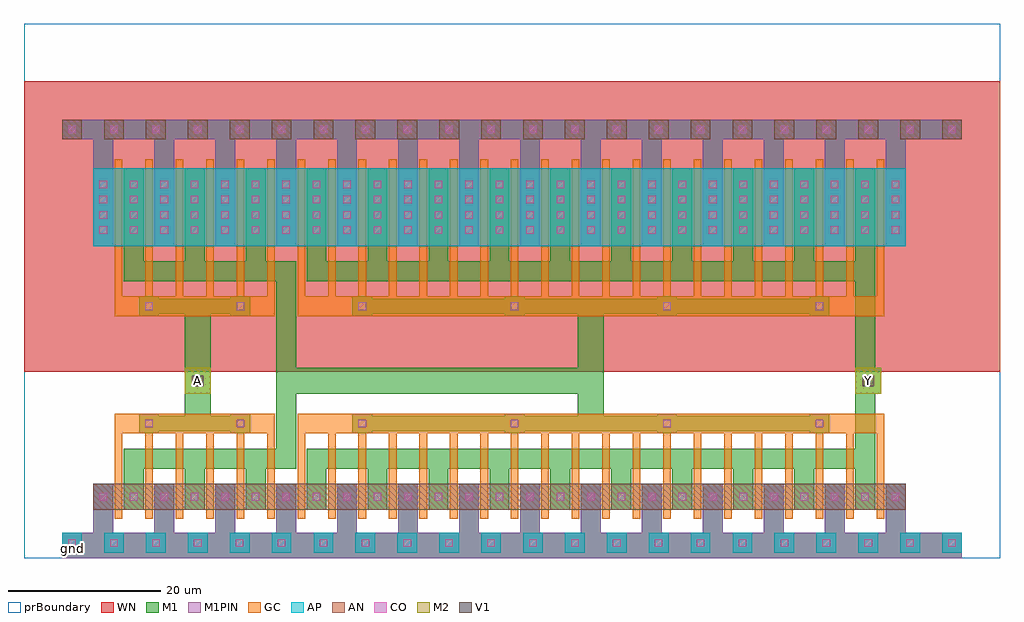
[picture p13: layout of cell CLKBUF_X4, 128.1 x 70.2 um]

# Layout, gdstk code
import gdstk
lib = gdstk.Library(unit=1e-6, precision=1e-09)
def R(c, l, rs):  # rectangles x0, y0, x1, y1
    for r in rs: c.add(gdstk.rectangle(r[:2], r[2:], *l))
def A(c, l, x, y, w, h, nx, ny, dx, dy):  # array of equal rectangles
    R(c, l, [(x+i*dx, y+j*dy, x+i*dx+w, y+j*dy+h) for i in range(nx) for j in range(ny)])
def P(c, l, *ps):  # polygons
    for p in ps: c.add(gdstk.Polygon(p, *l))
AP = (3, 1)
AN = (3, 2)
GC = (8, 1)
CO = (11, 0)
M1 = (13, 0)
V1 = (19, 0)
M2 = (20, 0)
M1PIN = (48, 1)
WN = (140, 0)
prBoundary = (235, 4)

clkbuf_x4 = lib.new_cell('CLKBUF_X4')
A(clkbuf_x4, AP, 5, 0.75, 2.6, 2.6, 22, 1, 5.5, 0)
R(clkbuf_x4, AP, [(9.1,41,115.7,51.2)])
A(clkbuf_x4, AN, 5, 55, 2.6, 2.6, 22, 1, 5.5, 0)
R(clkbuf_x4, AN, [(9.1,6.4,115.7,9.8)])
P(clkbuf_x4, GC, [(11.9,5.2),(11.9,19),(32.9,19),(32.9,5.2),(31.9,5.2),(31.9,16.4),(28.9,16.4),(28.9,5.2),(27.9,5.2),(27.9,16.4),(24.9,16.4),(24.9,5.2),(23.9,5.2),(23.9,16.4),(20.9,16.4),(20.9,5.2),(19.9,5.2),(19.9,16.4),(16.9,16.4),(16.9,5.2),(15.9,5.2),(15.9,16.4),(12.9,16.4),(12.9,5.2)],
  [(35.9,5.2),(35.9,19),(112.9,19),(112.9,5.2),(111.9,5.2),(111.9,16.4),(108.9,16.4),(108.9,5.2),(107.9,5.2),(107.9,16.4),(104.9,16.4),(104.9,5.2),(103.9,5.2),(103.9,16.4),(100.9,16.4),(100.9,5.2),(99.9,5.2),(99.9,16.4),(96.9,16.4),(96.9,5.2),(95.9,5.2),(95.9,16.4),(92.9,16.4),(92.9,5.2),(91.9,5.2),(91.9,16.4),(88.9,16.4),(88.9,5.2),(87.9,5.2),(87.9,16.4),(84.9,16.4),(84.9,5.2),(83.9,5.2),(83.9,16.4),(80.9,16.4),(80.9,5.2),(79.9,5.2),(79.9,16.4),(76.9,16.4),(76.9,5.2),(75.9,5.2),(75.9,16.4),(72.9,16.4),(72.9,5.2),(71.9,5.2),(71.9,16.4),(68.9,16.4),(68.9,5.2),(67.9,5.2),(67.9,16.4),(64.9,16.4),(64.9,5.2),(63.9,5.2),(63.9,16.4),(60.9,16.4),(60.9,5.2),(59.9,5.2),(59.9,16.4),(56.9,16.4),(56.9,5.2),(55.9,5.2),(55.9,16.4),(52.9,16.4),(52.9,5.2),(51.9,5.2),(51.9,16.4),(48.9,16.4),(48.9,5.2),(47.9,5.2),(47.9,16.4),(44.9,16.4),(44.9,5.2),(43.9,5.2),(43.9,16.4),(40.9,16.4),(40.9,5.2),(39.9,5.2),(39.9,16.4),(36.9,16.4),(36.9,5.2)],
  [(11.9,31.8),(11.9,52.4),(12.9,52.4),(12.9,34.4),(15.9,34.4),(15.9,52.4),(16.9,52.4),(16.9,34.4),(19.9,34.4),(19.9,52.4),(20.9,52.4),(20.9,34.4),(23.9,34.4),(23.9,52.4),(24.9,52.4),(24.9,34.4),(27.9,34.4),(27.9,52.4),(28.9,52.4),(28.9,34.4),(31.9,34.4),(31.9,52.4),(32.9,52.4),(32.9,31.8)],
  [(35.9,31.8),(35.9,52.4),(36.9,52.4),(36.9,34.4),(39.9,34.4),(39.9,52.4),(40.9,52.4),(40.9,34.4),(43.9,34.4),(43.9,52.4),(44.9,52.4),(44.9,34.4),(47.9,34.4),(47.9,52.4),(48.9,52.4),(48.9,34.4),(51.9,34.4),(51.9,52.4),(52.9,52.4),(52.9,34.4),(55.9,34.4),(55.9,52.4),(56.9,52.4),(56.9,34.4),(59.9,34.4),(59.9,52.4),(60.9,52.4),(60.9,34.4),(63.9,34.4),(63.9,52.4),(64.9,52.4),(64.9,34.4),(67.9,34.4),(67.9,52.4),(68.9,52.4),(68.9,34.4),(71.9,34.4),(71.9,52.4),(72.9,52.4),(72.9,34.4),(75.9,34.4),(75.9,52.4),(76.9,52.4),(76.9,34.4),(79.9,34.4),(79.9,52.4),(80.9,52.4),(80.9,34.4),(83.9,34.4),(83.9,52.4),(84.9,52.4),(84.9,34.4),(87.9,34.4),(87.9,52.4),(88.9,52.4),(88.9,34.4),(91.9,34.4),(91.9,52.4),(92.9,52.4),(92.9,34.4),(95.9,34.4),(95.9,52.4),(96.9,52.4),(96.9,34.4),(99.9,34.4),(99.9,52.4),(100.9,52.4),(100.9,34.4),(103.9,34.4),(103.9,52.4),(104.9,52.4),(104.9,34.4),(107.9,34.4),(107.9,52.4),(108.9,52.4),(108.9,34.4),(111.9,34.4),(111.9,52.4),(112.9,52.4),(112.9,31.8)])
A(clkbuf_x4, CO, 5.8, 1.55, 1, 1, 22, 2, 5.5, 54.25)
A(clkbuf_x4, CO, 9.9, 7.6, 1, 1, 7, 2, 4, 35)
A(clkbuf_x4, CO, 33.9, 7.6, 1, 1, 21, 2, 4, 35)
A(clkbuf_x4, CO, 43.9, 17.2, 1, 1, 4, 2, 20, 15.4)
A(clkbuf_x4, CO, 9.9, 44.6, 1, 1, 7, 3, 4, 2)
A(clkbuf_x4, CO, 33.9, 44.6, 1, 1, 21, 3, 4, 2)
R(clkbuf_x4, CO, [(15.9,17.2,16.9,18.2), (27.9,17.2,28.9,18.2), (15.9,32.6,16.9,33.6), (27.9,32.6,28.9,33.6)])
A(clkbuf_x4, M1, 11.7, 2.6, 5.4, 0.8, 13, 1, 8, 0)
R(clkbuf_x4, M1, [(5,2.6,9.1,3.4), (115.7,2.6,123.1,3.4)])
P(clkbuf_x4, M1, [(5,0),(5,2.6),(9.1,2.6),(9.1,9.8),(11.7,9.8),(11.7,2.6),(17.1,2.6),(17.1,9.8),(19.7,9.8),(19.7,2.6),(25.1,2.6),(25.1,9.8),(27.7,9.8),(27.7,2.6),(33.1,2.6),(33.1,9.8),(35.7,9.8),(35.7,2.6),(41.1,2.6),(41.1,9.8),(43.7,9.8),(43.7,2.6),(49.1,2.6),(49.1,9.8),(51.7,9.8),(51.7,2.6),(57.1,2.6),(57.1,9.8),(59.7,9.8),(59.7,2.6),(65.1,2.6),(65.1,9.8),(67.7,9.8),(67.7,2.6),(73.1,2.6),(73.1,9.8),(75.7,9.8),(75.7,2.6),(81.1,2.6),(81.1,9.8),(83.7,9.8),(83.7,2.6),(89.1,2.6),(89.1,9.8),(91.7,9.8),(91.7,2.6),(97.1,2.6),(97.1,9.8),(99.7,9.8),(99.7,2.6),(105.1,2.6),(105.1,9.8),(107.7,9.8),(107.7,2.6),(113.1,2.6),(113.1,9.8),(115.7,9.8),(115.7,2.6),(123.1,2.6),(123.1,0)],
  [(15.1,16.4),(15.1,19),(17.7,19),(17.7,18.7),(21.1,18.7),(21.1,32.1),(17.7,32.1),(17.7,31.8),(15.1,31.8),(15.1,34.4),(17.7,34.4),(17.7,34.1),(27.1,34.1),(27.1,34.4),(29.7,34.4),(29.7,31.8),(27.1,31.8),(27.1,32.1),(24.5,32.1),(24.5,18.7),(27.1,18.7),(27.1,19),(29.7,19),(29.7,16.4),(27.1,16.4),(27.1,16.7),(17.7,16.7),(17.7,16.4)],
  [(13.1,6.4),(13.1,14.4),(33.1,14.4),(33.1,36.4),(13.1,36.4),(13.1,51.2),(15.7,51.2),(15.7,39),(21.1,39),(21.1,51.2),(23.7,51.2),(23.7,39),(29.1,39),(29.1,51.2),(31.7,51.2),(31.7,39),(35.7,39),(35.7,25),(72.7,25),(72.7,32.1),(65.7,32.1),(65.7,31.8),(63.1,31.8),(63.1,32.1),(45.7,32.1),(45.7,31.8),(43.1,31.8),(43.1,34.4),(45.7,34.4),(45.7,34.1),(63.1,34.1),(63.1,34.4),(65.7,34.4),(65.7,34.1),(83.1,34.1),(83.1,34.4),(85.7,34.4),(85.7,34.1),(103.1,34.1),(103.1,34.4),(105.7,34.4),(105.7,31.8),(103.1,31.8),(103.1,32.1),(85.7,32.1),(85.7,31.8),(83.1,31.8),(83.1,32.1),(76.1,32.1),(76.1,18.7),(83.1,18.7),(83.1,19),(85.7,19),(85.7,18.7),(103.1,18.7),(103.1,19),(105.7,19),(105.7,16.4),(103.1,16.4),(103.1,16.7),(85.7,16.7),(85.7,16.4),(83.1,16.4),(83.1,16.7),(65.7,16.7),(65.7,16.4),(63.1,16.4),(63.1,16.7),(45.7,16.7),(45.7,16.4),(43.1,16.4),(43.1,19),(45.7,19),(45.7,18.7),(63.1,18.7),(63.1,19),(65.7,19),(65.7,18.7),(72.7,18.7),(72.7,21.6),(35.7,21.6),(35.7,11.8),(31.7,11.8),(31.7,6.4),(29.1,6.4),(29.1,11.8),(23.7,11.8),(23.7,6.4),(21.1,6.4),(21.1,11.8),(15.7,11.8),(15.7,6.4)],
  [(37.1,6.4),(37.1,14.4),(109.1,14.4),(109.1,36.4),(37.1,36.4),(37.1,51.2),(39.7,51.2),(39.7,39),(45.1,39),(45.1,51.2),(47.7,51.2),(47.7,39),(53.1,39),(53.1,51.2),(55.7,51.2),(55.7,39),(61.1,39),(61.1,51.2),(63.7,51.2),(63.7,39),(69.1,39),(69.1,51.2),(71.7,51.2),(71.7,39),(77.1,39),(77.1,51.2),(79.7,51.2),(79.7,39),(85.1,39),(85.1,51.2),(87.7,51.2),(87.7,39),(93.1,39),(93.1,51.2),(95.7,51.2),(95.7,39),(101.1,39),(101.1,51.2),(103.7,51.2),(103.7,39),(109.1,39),(109.1,51.2),(111.7,51.2),(111.7,25),(112.5,25),(112.5,21.6),(111.7,21.6),(111.7,6.4),(109.1,6.4),(109.1,11.8),(103.7,11.8),(103.7,6.4),(101.1,6.4),(101.1,11.8),(95.7,11.8),(95.7,6.4),(93.1,6.4),(93.1,11.8),(87.7,11.8),(87.7,6.4),(85.1,6.4),(85.1,11.8),(79.7,11.8),(79.7,6.4),(77.1,6.4),(77.1,11.8),(71.7,11.8),(71.7,6.4),(69.1,6.4),(69.1,11.8),(63.7,11.8),(63.7,6.4),(61.1,6.4),(61.1,11.8),(55.7,11.8),(55.7,6.4),(53.1,6.4),(53.1,11.8),(47.7,11.8),(47.7,6.4),(45.1,6.4),(45.1,11.8),(39.7,11.8),(39.7,6.4)],
  [(9.1,41),(9.1,55),(5,55),(5,57.6),(123.1,57.6),(123.1,55),(115.7,55),(115.7,41),(113.1,41),(113.1,55),(107.7,55),(107.7,41),(105.1,41),(105.1,55),(99.7,55),(99.7,41),(97.1,41),(97.1,55),(91.7,55),(91.7,41),(89.1,41),(89.1,55),(83.7,55),(83.7,41),(81.1,41),(81.1,55),(75.7,55),(75.7,41),(73.1,41),(73.1,55),(67.7,55),(67.7,41),(65.1,41),(65.1,55),(59.7,55),(59.7,41),(57.1,41),(57.1,55),(51.7,55),(51.7,41),(49.1,41),(49.1,55),(43.7,55),(43.7,41),(41.1,41),(41.1,55),(35.7,55),(35.7,41),(33.1,41),(33.1,55),(27.7,55),(27.7,41),(25.1,41),(25.1,55),(19.7,55),(19.7,41),(17.1,41),(17.1,55),(11.7,55),(11.7,41)])
R(clkbuf_x4, V1, [(22.1,22.6,23.5,24), (110.1,22.6,111.5,24)])
R(clkbuf_x4, M2, [(21.1,21.6,24.5,25), (109.1,21.6,112.5,25)])
A(clkbuf_x4, M1PIN, 9.1, 3.4, 2.6, 6.4, 14, 1, 8, 0)
A(clkbuf_x4, M1PIN, 9.1, 41, 2.6, 14, 14, 1, 8, 0)
R(clkbuf_x4, M1PIN, [(5,0,123.1,3.4), (5,55,123.1,57.6)])
R(clkbuf_x4, WN, [(0,24.5,128.1,62.6)])
R(clkbuf_x4, prBoundary, [(0,0,128.1,70.2)])
clkbuf_x4.add(gdstk.Label('A', (22.8,23.3), layer=49, texttype=0))
clkbuf_x4.add(gdstk.Label('Y', (110.8,23.3), layer=49, texttype=0))
clkbuf_x4.add(gdstk.Label('Y', (110.8,23.3), layer=48, texttype=0))
clkbuf_x4.add(gdstk.Label('A', (22.8,23.3), layer=48, texttype=0))
clkbuf_x4.add(gdstk.Label('gnd', (6.3,1.3), layer=48, texttype=0))

lib.write_gds('CLKBUF_X4.gds')
